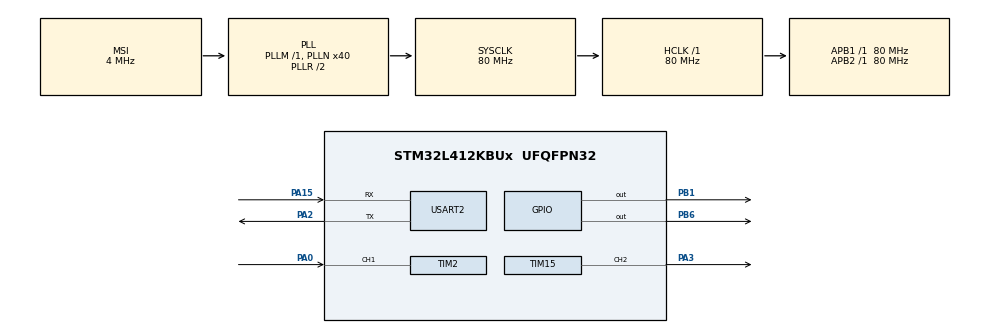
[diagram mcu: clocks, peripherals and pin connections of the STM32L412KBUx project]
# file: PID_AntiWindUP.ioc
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Mcu.Family=STM32L4
Mcu.Name=STM32L412KBUx
Mcu.Package=UFQFPN32
NVIC.PriorityGroup=NVIC_PRIORITYGROUP_4
NVIC.TIM6_IRQn=true\:0\:0\:false\:false\:true\:true\:true
NVIC.USART2_IRQn=true\:0\:0\:false\:false\:true\:true\:true
PA0-CK_IN.Signal=S_TIM2_CH1
PA15\ (JTDI).Mode=Asynchronous
PA15\ (JTDI).Signal=USART2_RX
PA2.Mode=Asynchronous
PA2.Signal=USART2_TX
PA3.Signal=S_TIM15_CH2
PB1.Signal=GPIO_Output
PB6.Signal=GPIO_Output
ProjectManager.HeapSize=0x200
ProjectManager.StackSize=0x400
ProjectManager.TargetToolchain=STM32CubeIDE
RCC.ADCFreq_Value=80000000
RCC.AHBFreq_Value=80000000
RCC.APB1Freq_Value=80000000
RCC.APB1TimFreq_Value=80000000
RCC.APB2Freq_Value=80000000
RCC.APB2TimFreq_Value=80000000
RCC.CortexFreq_Value=80000000
RCC.HCLKFreq_Value=80000000
RCC.HSE_VALUE=8000000
RCC.HSI48_VALUE=48000000
RCC.HSI_VALUE=16000000
RCC.LSE_VALUE=32768
RCC.MSI_VALUE=4000000
RCC.PLLN=40
RCC.SYSCLKFreq_VALUE=80000000
RCC.SYSCLKSource=RCC_SYSCLKSOURCE_PLLCLK
RCC.USBFreq_Value=4000000
RCC.VCOOutputFreq_Value=160000000
SH.S_TIM15_CH2.0=TIM15_CH2,PWM Generation2 CH2
SH.S_TIM2_CH1.0=TIM2_CH1,TriggerSource_TI1FP1
TIM15.Channel-PWM\ Generation2\ CH2=TIM_CHANNEL_2
TIM15.Period=50
TIM15.Prescaler=40-1
TIM6.Period=10000-1
TIM6.Prescaler=80-1
USART2.VirtualMode-Asynchronous=VM_ASYNC
VP_TIM2_VS_ControllerModeClock.Mode=Clock Mode
VP_TIM6_VS_ClockSourceINT.Mode=Enable_Timer
board=custom

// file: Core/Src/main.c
/* USER CODE BEGIN Header */
/**
  ******************************************************************************
  * @file           : main.c
  * @brief          : Main program body
  ******************************************************************************
  * @attention
  *
  * <h2><center>&copy; Copyright (c) 2021 STMicroelectronics.
  * All rights reserved.</center></h2>
  *
  * This software component is licensed by ST under BSD 3-Clause license,
  * the "License"; You may not use this file except in compliance with the
  * License. You may obtain a copy of the License at:
  *                        opensource.org/licenses/BSD-3-Clause
  *
  ******************************************************************************
  */
/* USER CODE END Header */
#include "main.h"
#include "tim.h"
#include "usart.h"
#include "gpio.h"

/* USER CODE BEGIN Includes */
#include "PID.h"
#include <stdio.h>
#include <stdlib.h>
#include <string.h>
/* USER CODE END Includes */

/* USER CODE BEGIN PM */
#define S					120									//cantidad de pulsos por vuelta
#define Ts					10E-3								//tiempo de muestreo
#define KP	0.0121
#define KI	0.3893
#define KD  1.089E-5
#define UMIN 	0
#define UMAX	8.1
/* USER CODE END PM */

/* USER CODE BEGIN PV */
float	rpm;								//RPM
float radS;									//velocidad en rad/s
uint32_t pulse;								//pulsos del encoder
float ref = 20;
uint16_t U;

PID_Def_t MotorDC;

char bufferRx[100];
uint8_t byte;
uint8_t i;
uint8_t bufferTx[100];
/* USER CODE END PV */

void SystemClock_Config(void);

int main(void)
{

  /* MCU Configuration--------------------------------------------------------*/

  /* Reset of all peripherals, Initializes the Flash interface and the Systick. */
  HAL_Init();

  /* Configure the system clock */
  SystemClock_Config();

  /* Initialize all configured peripherals */
  MX_GPIO_Init();
  MX_TIM2_Init();
  MX_TIM6_Init();
  MX_TIM15_Init();
  MX_USART2_UART_Init();
  /* USER CODE BEGIN 2 */
  PID_Init(&MotorDC, KP, KI, KD, Ts, UMIN, UMAX);
  /*se establece el sentido de giro*/
  HAL_GPIO_WritePin(GPIOB, GPIO_PIN_1, GPIO_PIN_SET);
  HAL_GPIO_WritePin(GPIOB, GPIO_PIN_6, GPIO_PIN_RESET);
  /*inicializa los timers*/
  HAL_TIM_Base_Start(&htim2);
  HAL_TIM_Base_Start_IT(&htim6);
  HAL_TIM_PWM_Start(&htim15, TIM_CHANNEL_2);
  __HAL_TIM_SET_COMPARE(&htim15,TIM_CHANNEL_2,0);
  HAL_UART_Receive_IT(&huart2,&byte,1);
  /* USER CODE END 2 */

  /* Infinite loop */
  while (1)
  {

  }
}

void SystemClock_Config(void)
{
  RCC_OscInitTypeDef RCC_OscInitStruct = {0};
  RCC_ClkInitTypeDef RCC_ClkInitStruct = {0};

  /** Configure the main internal regulator output voltage
  */
  if (HAL_PWREx_ControlVoltageScaling(PWR_REGULATOR_VOLTAGE_SCALE1) != HAL_OK)
  {
    Error_Handler();
  }
  /** Initializes the RCC Oscillators according to the specified parameters
  * in the RCC_OscInitTypeDef structure.
  */
  RCC_OscInitStruct.OscillatorType = RCC_OSCILLATORTYPE_MSI;
  RCC_OscInitStruct.MSIState = RCC_MSI_ON;
  RCC_OscInitStruct.MSICalibrationValue = 0;
  RCC_OscInitStruct.MSIClockRange = RCC_MSIRANGE_6;
  RCC_OscInitStruct.PLL.PLLState = RCC_PLL_ON;
  RCC_OscInitStruct.PLL.PLLSource = RCC_PLLSOURCE_MSI;
  RCC_OscInitStruct.PLL.PLLM = 1;
  RCC_OscInitStruct.PLL.PLLN = 40;
  RCC_OscInitStruct.PLL.PLLQ = RCC_PLLQ_DIV2;
  RCC_OscInitStruct.PLL.PLLR = RCC_PLLR_DIV2;
  if (HAL_RCC_OscConfig(&RCC_OscInitStruct) != HAL_OK)
  {
    Error_Handler();
  }
  /** Initializes the CPU, AHB and APB buses clocks
  */
  RCC_ClkInitStruct.ClockType = RCC_CLOCKTYPE_HCLK|RCC_CLOCKTYPE_SYSCLK
                              |RCC_CLOCKTYPE_PCLK1|RCC_CLOCKTYPE_PCLK2;
  RCC_ClkInitStruct.SYSCLKSource = RCC_SYSCLKSOURCE_PLLCLK;
  RCC_ClkInitStruct.AHBCLKDivider = RCC_SYSCLK_DIV1;
  RCC_ClkInitStruct.APB1CLKDivider = RCC_HCLK_DIV1;
  RCC_ClkInitStruct.APB2CLKDivider = RCC_HCLK_DIV1;

  if (HAL_RCC_ClockConfig(&RCC_ClkInitStruct, FLASH_LATENCY_4) != HAL_OK)
  {
    Error_Handler();
  }
}

/* USER CODE BEGIN 4 */
void HAL_TIM_PeriodElapsedCallback(TIM_HandleTypeDef *htim)
{
	if(htim == &htim6){
		pulse = __HAL_TIM_GET_COUNTER(&htim2);
		__HAL_TIM_SET_COUNTER(&htim2,0);
		/****************************************************/
		rpm = pulse * 60.0 /(Ts * S);				//se calcula el RPM
		radS = rpm  *(2*3.141592)/60;				//velocidad en Rad/s
		/****************************************************************/
		U = (uint16_t)(PID_Compute(&MotorDC, ref, radS)*50.0/8.4);
		__HAL_TIM_SET_COMPARE(&htim15,TIM_CHANNEL_2,U);
		sprintf((char*)bufferTx,"%.2f\r\n",radS);
		HAL_UART_Transmit(&huart2, bufferTx, strlen((char*)bufferTx), 5);
	}
}

void HAL_UART_RxCpltCallback(UART_HandleTypeDef *huart)
{
	if(byte == 'x'){
		HAL_GPIO_TogglePin(GPIOB,GPIO_PIN_3);
		ref = atof(bufferRx);
		memset(bufferRx,0,i);
		i = 0;
	}else{
		bufferRx[i] = byte;
		i++;
	}

	HAL_UART_Receive_IT(&huart2,&byte,1);

}
/* USER CODE END 4 */

void Error_Handler(void)
{
  __disable_irq();
  while (1)
  {
  }
}

/************************ (C) COPYRIGHT STMicroelectronics *****END OF FILE****/
